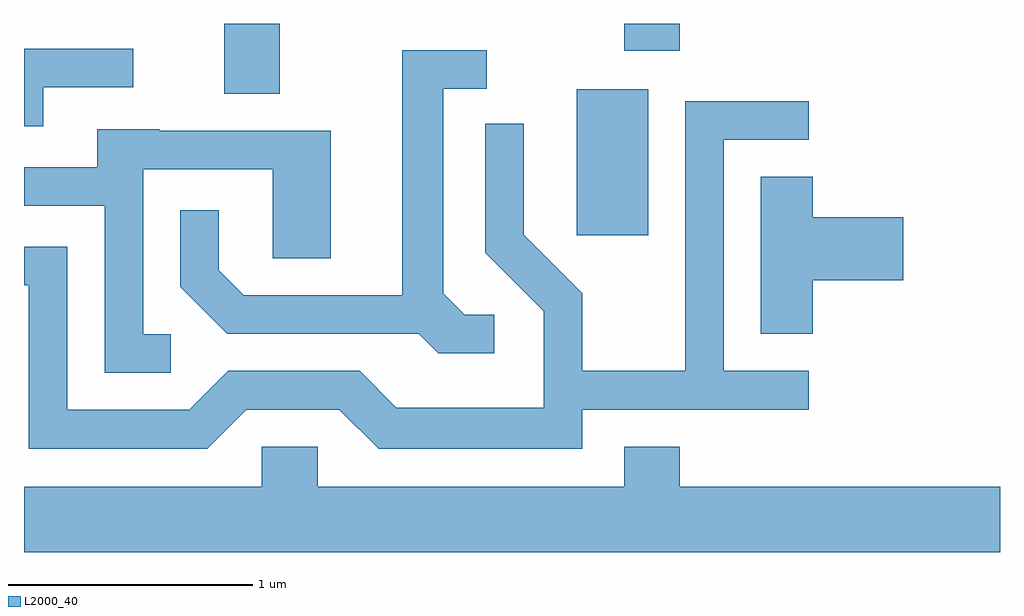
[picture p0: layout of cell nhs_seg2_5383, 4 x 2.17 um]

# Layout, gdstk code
import gdstk
lib = gdstk.Library(unit=1e-6, precision=1e-09)
def R(c, l, rs):  # rectangles x0, y0, x1, y1
    for r in rs: c.add(gdstk.rectangle(r[:2], r[2:], *l))
def P(c, l, *ps):  # polygons
    for p in ps: c.add(gdstk.Polygon(p, *l))
L2000_40 = (2000, 40)

nhs_seg2_5383 = lib.new_cell('nhs_seg2_5383')
R(nhs_seg2_5383, L2000_40, [(345.876,1062.936,346.169,1063.534), (344.431,1063.516,344.659,1063.802), (346.071,1063.691,346.299,1063.802)])
P(nhs_seg2_5383, L2000_40, [(343.689,1063.541),(344.058,1063.541),(344.058,1063.699),(343.611,1063.699),(343.611,1063.381),(343.689,1063.381)],
  [(345.538,1062.609),(345.417,1062.609),(345.329,1062.697),(345.329,1063.536),(345.508,1063.536),(345.508,1063.694),(345.161,1063.694),(345.161,1062.689),(344.512,1062.689),(344.409,1062.792),(344.409,1063.038),(344.251,1063.038),(344.251,1062.724),(344.444,1062.531),(345.229,1062.531),(345.309,1062.451),(345.538,1062.451)],
  [(344.522,1062.221),(344.904,1062.221),(345.064,1062.061),(345.899,1062.061),(345.899,1062.221),(346.828,1062.221),(346.828,1062.379),(346.479,1062.379),(346.479,1063.326),(346.828,1063.326),(346.828,1063.484),(346.321,1063.484),(346.321,1062.379),(345.899,1062.379),(345.899,1062.697),(345.659,1062.937),(345.659,1063.393),(345.501,1063.393),(345.501,1062.864),(345.741,1062.624),(345.741,1062.229),(345.137,1062.229),(344.987,1062.379),(344.449,1062.379),(344.289,1062.219),(343.789,1062.219),(343.789,1062.889),(343.611,1062.889),(343.611,1062.731),(343.631,1062.731),(343.631,1062.061),(344.362,1062.061)],
  [(344.213,1062.529),(344.099,1062.529),(344.099,1063.206),(344.631,1063.206),(344.631,1062.841),(344.869,1062.841),(344.869,1063.364),(344.165,1063.364),(344.165,1063.369),(343.911,1063.369),(343.911,1063.214),(343.611,1063.214),(343.611,1063.056),(343.941,1063.056),(343.941,1062.371),(344.213,1062.371)],
  [(346.844,1062.751),(347.214,1062.751),(347.214,1063.009),(346.844,1063.009),(346.844,1063.174),(346.631,1063.174),(346.631,1062.531),(346.844,1062.531)],
  [(347.611,1061.904),(346.299,1061.904),(346.299,1062.069),(346.071,1062.069),(346.071,1061.904),(344.814,1061.904),(344.814,1062.069),(344.586,1062.069),(344.586,1061.904),(343.611,1061.904),(343.611,1061.636),(347.611,1061.636)])

lib.write_gds('nhs_seg2_5383.gds')
